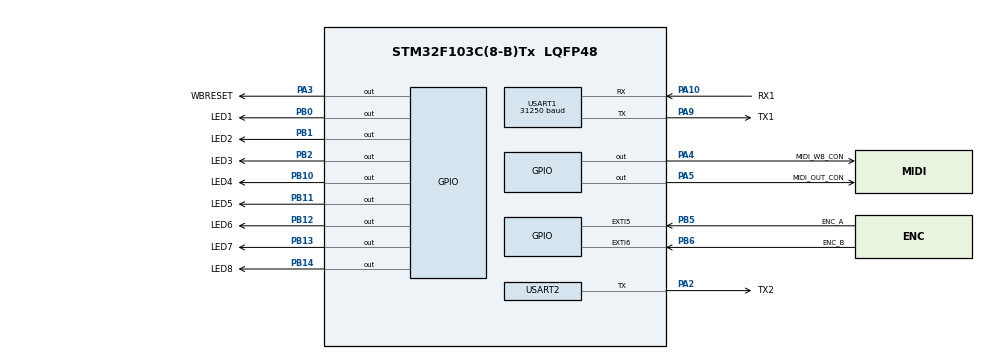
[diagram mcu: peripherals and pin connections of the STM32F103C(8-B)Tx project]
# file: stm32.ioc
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Mcu.Family=STM32F1
Mcu.Name=STM32F103C(8-B)Tx
Mcu.Package=LQFP48
NVIC.EXTI9_5_IRQn=true\:4\:0\:true\:false\:true\:true\:true
NVIC.PriorityGroup=NVIC_PRIORITYGROUP_4
NVIC.TIM2_IRQn=true\:3\:0\:true\:true\:true\:2\:true\:true
NVIC.TIM4_IRQn=true\:5\:0\:true\:false\:true\:true\:true
NVIC.USART1_IRQn=true\:1\:0\:true\:true\:true\:1\:true\:true
NVIC.USART2_IRQn=true\:2\:0\:true\:false\:true\:true\:true
PA10.GPIO_Label=RX1
PA10.Mode=Asynchronous
PA10.Signal=USART1_RX
PA13.Mode=JTAG_5_pins
PA13.Signal=SYS_JTMS-SWDIO
PA14.Mode=JTAG_5_pins
PA14.Signal=SYS_JTCK-SWCLK
PA15.Mode=JTAG_5_pins
PA15.Signal=SYS_JTDI
PA2.GPIO_Label=TX2
PA2.Mode=Half_duplex(single_wire_mode)
PA2.Signal=USART2_TX
PA3.GPIO_Label=WBRESET
PA3.GPIO_ModeDefaultOutputPP=GPIO_MODE_OUTPUT_OD
PA3.Signal=GPIO_Output
PA4.GPIO_Label=MIDI_WB_CON
PA4.GPIO_ModeDefaultOutputPP=GPIO_MODE_OUTPUT_OD
PA4.Signal=GPIO_Output
PA5.GPIO_Label=MIDI_OUT_CON
PA5.GPIO_ModeDefaultOutputPP=GPIO_MODE_OUTPUT_OD
PA5.Signal=GPIO_Output
PA9.GPIO_Label=TX1
PA9.Mode=Asynchronous
PA9.Signal=USART1_TX
PB0.GPIO_Label=LED1
PB0.GPIO_PuPd=GPIO_PULLDOWN
PB0.Signal=GPIO_Output
PB1.GPIO_Label=LED2
PB1.GPIO_PuPd=GPIO_PULLDOWN
PB1.Signal=GPIO_Output
PB10.GPIO_Label=LED4
PB10.GPIO_PuPd=GPIO_PULLDOWN
PB10.Signal=GPIO_Output
PB11.GPIO_Label=LED5
PB11.GPIO_PuPd=GPIO_PULLDOWN
PB11.Signal=GPIO_Output
PB12.GPIO_Label=LED6
PB12.GPIO_PuPd=GPIO_PULLDOWN
PB12.Signal=GPIO_Output
PB13.GPIO_Label=LED7
PB13.GPIO_PuPd=GPIO_PULLDOWN
PB13.Signal=GPIO_Output
PB14.GPIO_Label=LED8
PB14.GPIO_PuPd=GPIO_PULLDOWN
PB14.Signal=GPIO_Output
PB2.GPIO_Label=LED3
PB2.GPIO_PuPd=GPIO_PULLDOWN
PB2.Signal=GPIO_Output
PB3.Mode=JTAG_5_pins
PB3.Signal=SYS_JTDO-TRACESWO
PB4.Mode=JTAG_5_pins
PB4.Signal=SYS_NJTRST
PB5.GPIO_Label=ENC_A
PB5.GPIO_ModeDefaultEXTI=GPIO_MODE_IT_RISING_FALLING
PB5.Signal=GPXTI5
PB6.GPIO_Label=ENC_B
PB6.GPIO_ModeDefaultEXTI=GPIO_MODE_IT_FALLING
PB6.Signal=GPXTI6
PD0-OSC_IN.Mode=HSE-External-Oscillator
PD0-OSC_IN.Signal=RCC_OSC_IN
PD1-OSC_OUT.Mode=HSE-External-Oscillator
PD1-OSC_OUT.Signal=RCC_OSC_OUT
ProjectManager.HeapSize=0x200
ProjectManager.StackSize=0x400
ProjectManager.TargetToolchain=Makefile
RCC.AHBFreq_Value=40000000
RCC.APB1CLKDivider=RCC_HCLK_DIV2
RCC.APB1Freq_Value=20000000
RCC.APB1TimFreq_Value=40000000
RCC.APB2Freq_Value=40000000
RCC.APB2TimFreq_Value=40000000
RCC.HCLKFreq_Value=40000000
RCC.HSE_VALUE=16000000
RCC.PLLMUL=RCC_PLL_MUL10
RCC.SYSCLKFreq_VALUE=40000000
RCC.SYSCLKSource=RCC_SYSCLKSOURCE_PLLCLK
RCC.USBFreq_Value=40000000
TIM2.AutoReloadPreload=TIM_AUTORELOAD_PRELOAD_ENABLE
TIM2.Period=9999
TIM4.AutoReloadPreload=TIM_AUTORELOAD_PRELOAD_ENABLE
TIM4.ClockDivision=TIM_CLOCKDIVISION_DIV1
TIM4.CounterMode=TIM_COUNTERMODE_UP
TIM4.Period=6
TIM4.Prescaler=3999
USART1.BaudRate=31250
USART1.Mode=MODE_TX_RX
USART1.VirtualMode=VM_ASYNC
USART1.WordLength=WORDLENGTH_8B
USART2.BaudRate=31250
USART2.Mode=MODE_TX
USART2.VirtualMode=VM_ASYNC
VP_TIM2_VS_ClockSourceINT.Mode=Internal
VP_TIM4_VS_ClockSourceINT.Mode=Internal
board=custom

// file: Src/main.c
/* USER CODE BEGIN Header */
/**
  ******************************************************************************
  * @file           : main.c
  * @brief          : Main program body
  ******************************************************************************
  * @attention
  *
  * <h2><center>&copy; Copyright (c) 2019 STMicroelectronics.
  * All rights reserved.</center></h2>
  *
  * This software component is licensed by ST under BSD 3-Clause license,
  * the "License"; You may not use this file except in compliance with the
  * License. You may obtain a copy of the License at:
  *                        opensource.org/licenses/BSD-3-Clause
  *
  ******************************************************************************
  */
/* USER CODE END Header */

#include "main.h"

/* USER CODE BEGIN Includes */
#include "export.h"
#include "utils.h"
#include "iobuffers.h"
#include "midi_in_handler.h"
/* USER CODE END Includes */

/* USER CODE BEGIN PV */

uint32_t prev_encoder_pos;

/* USER CODE END PV */

void SystemClock_Config(void);
static void MX_GPIO_Init(void);
static void MX_USART1_UART_Init(void);
static void MX_USART2_UART_Init(void);
static void MX_TIM2_Init(void);
static void MX_TIM4_Init(void);
static void MX_NVIC_Init(void);

int main(void)
{

  /* MCU Configuration--------------------------------------------------------*/

  /* Reset of all peripherals, Initializes the Flash interface and the Systick. */

  LL_APB2_GRP1_EnableClock(LL_APB2_GRP1_PERIPH_AFIO);
  LL_APB1_GRP1_EnableClock(LL_APB1_GRP1_PERIPH_PWR);

  NVIC_SetPriorityGrouping(NVIC_PRIORITYGROUP_4);

  /* System interrupt init*/

  /** ENABLE: Full SWJ (JTAG-DP + SW-DP): Reset State
  */
  LL_GPIO_AF_EnableRemap_SWJ();

  /* Configure the system clock */
  SystemClock_Config();

  /* Initialize all configured peripherals */
  MX_GPIO_Init();
  MX_USART1_UART_Init();
  MX_USART2_UART_Init();
  MX_TIM2_Init();
  MX_TIM4_Init();

  /* Initialize interrupts */
  MX_NVIC_Init();
  /* USER CODE BEGIN 2 */

    //LL_GPIO_ResetOutputPin(MIDI_WB_CON_GPIO_Port, MIDI_WB_CON_Pin);

    current_intercept_mode = VOLUME_VELOCITY;
    current_alteration_mode = VOLUME_MULTIPLY;
    current_max_volume = 255;

  /* USER CODE END 2 */

  /* Infinite loop */
  /* USER CODE BEGIN WHILE */

    prev_encoder_pos =
            (LL_GPIO_IsInputPinSet(ENC_B_GPIO_Port, ENC_B_Pin) ? 1 : 0) +
            (LL_GPIO_IsInputPinSet(ENC_A_GPIO_Port, ENC_A_Pin) ? 2 : 0);

    LL_GPIO_ResetOutputPin(MIDI_OUT_CON_GPIO_Port, MIDI_OUT_CON_Pin);
    LL_GPIO_ResetOutputPin(MIDI_WB_CON_GPIO_Port, MIDI_WB_CON_Pin);

    LL_GPIO_ResetOutputPin(WBRESET_GPIO_Port, WBRESET_Pin);
    LL_mDelay(1000);
    LL_GPIO_SetOutputPin(WBRESET_GPIO_Port, WBRESET_Pin);

    NVIC_DisableIRQ(USART1_IRQn);
    NVIC_DisableIRQ(USART2_IRQn);
    MPU401_Init();

    LL_USART_ClearFlag_TC(USART1);
    LL_USART_ClearFlag_TC(USART2);

    LL_USART_DisableIT_TXE(USART1);
    LL_USART_DisableIT_TXE(USART2);

    NVIC_ClearPendingIRQ(USART1_IRQn);
    NVIC_ClearPendingIRQ(USART2_IRQn);

    NVIC_EnableIRQ(USART1_IRQn);
    NVIC_EnableIRQ(USART2_IRQn);

    LL_USART_EnableIT_RXNE(USART1);

    LL_USART_EnableIT_TC(USART1);
    LL_USART_EnableIT_TC(USART2);

    LL_TIM_ClearFlag_UPDATE(TIM2);
    LL_TIM_ClearFlag_UPDATE(TIM4);

    LL_TIM_EnableIT_UPDATE(TIM2);
    LL_TIM_EnableIT_UPDATE(TIM4);

    LL_TIM_ClearFlag_TRIG(TIM2);
    LL_TIM_EnableCounter(TIM2);

    while(1);

    /* USER CODE END WHILE */

}

void SystemClock_Config(void)
{
  LL_FLASH_SetLatency(LL_FLASH_LATENCY_1);

  if(LL_FLASH_GetLatency() != LL_FLASH_LATENCY_1)
  {
    Error_Handler();
  }
  LL_RCC_HSI_SetCalibTrimming(16);
  LL_RCC_HSI_Enable();

   /* Wait till HSI is ready */
  while(LL_RCC_HSI_IsReady() != 1)
  {

  }
  LL_RCC_PLL_ConfigDomain_SYS(LL_RCC_PLLSOURCE_HSI_DIV_2, LL_RCC_PLL_MUL_10);
  LL_RCC_PLL_Enable();

   /* Wait till PLL is ready */
  while(LL_RCC_PLL_IsReady() != 1)
  {

  }
  LL_RCC_SetAHBPrescaler(LL_RCC_SYSCLK_DIV_1);
  LL_RCC_SetAPB1Prescaler(LL_RCC_APB1_DIV_2);
  LL_RCC_SetAPB2Prescaler(LL_RCC_APB2_DIV_1);
  LL_RCC_SetSysClkSource(LL_RCC_SYS_CLKSOURCE_PLL);

   /* Wait till System clock is ready */
  while(LL_RCC_GetSysClkSource() != LL_RCC_SYS_CLKSOURCE_STATUS_PLL)
  {

  }
  LL_Init1msTick(40000000);
  LL_SYSTICK_SetClkSource(LL_SYSTICK_CLKSOURCE_HCLK);
  LL_SetSystemCoreClock(40000000);
}

/**
  * @brief NVIC Configuration.
  * @retval None
  */
static void MX_NVIC_Init(void)
{
  /* USART1_IRQn interrupt configuration */
  NVIC_SetPriority(USART1_IRQn, NVIC_EncodePriority(NVIC_GetPriorityGrouping(),1, 0));
  NVIC_EnableIRQ(USART1_IRQn);
  /* TIM2_IRQn interrupt configuration */
  NVIC_SetPriority(TIM2_IRQn, NVIC_EncodePriority(NVIC_GetPriorityGrouping(),3, 0));
  NVIC_EnableIRQ(TIM2_IRQn);
}

static void MX_TIM2_Init(void)
{

  LL_TIM_InitTypeDef TIM_InitStruct = {0};

  /* Peripheral clock enable */
  LL_APB1_GRP1_EnableClock(LL_APB1_GRP1_PERIPH_TIM2);

  TIM_InitStruct.Prescaler = 9;
  TIM_InitStruct.CounterMode = LL_TIM_COUNTERMODE_UP;
  TIM_InitStruct.Autoreload = 999;
  TIM_InitStruct.ClockDivision = LL_TIM_CLOCKDIVISION_DIV1;
  LL_TIM_Init(TIM2, &TIM_InitStruct);
  LL_TIM_EnableARRPreload(TIM2);
  LL_TIM_SetClockSource(TIM2, LL_TIM_CLOCKSOURCE_INTERNAL);
  LL_TIM_SetTriggerOutput(TIM2, LL_TIM_TRGO_RESET);
  LL_TIM_DisableMasterSlaveMode(TIM2);

}

static void MX_TIM4_Init(void)
{

  LL_TIM_InitTypeDef TIM_InitStruct = {0};

  /* Peripheral clock enable */
  LL_APB1_GRP1_EnableClock(LL_APB1_GRP1_PERIPH_TIM4);

  /* TIM4 interrupt Init */
  NVIC_SetPriority(TIM4_IRQn, NVIC_EncodePriority(NVIC_GetPriorityGrouping(),5, 0));
  NVIC_EnableIRQ(TIM4_IRQn);

  TIM_InitStruct.Prescaler = 3999;
  TIM_InitStruct.CounterMode = LL_TIM_COUNTERMODE_UP;
  TIM_InitStruct.Autoreload = 6;
  TIM_InitStruct.ClockDivision = LL_TIM_CLOCKDIVISION_DIV1;
  LL_TIM_Init(TIM4, &TIM_InitStruct);
  LL_TIM_EnableARRPreload(TIM4);
  LL_TIM_SetClockSource(TIM4, LL_TIM_CLOCKSOURCE_INTERNAL);
  LL_TIM_SetTriggerOutput(TIM4, LL_TIM_TRGO_RESET);
  LL_TIM_DisableMasterSlaveMode(TIM4);

}

static void MX_USART1_UART_Init(void)
{

  LL_USART_InitTypeDef USART_InitStruct = {0};

  LL_GPIO_InitTypeDef GPIO_InitStruct = {0};

  /* Peripheral clock enable */
  LL_APB2_GRP1_EnableClock(LL_APB2_GRP1_PERIPH_USART1);

  LL_APB2_GRP1_EnableClock(LL_APB2_GRP1_PERIPH_GPIOA);
  /**USART1 GPIO Configuration
  PA9   ------> USART1_TX
  PA10   ------> USART1_RX
  */
  GPIO_InitStruct.Pin = TX1_Pin;
  GPIO_InitStruct.Mode = LL_GPIO_MODE_ALTERNATE;
  GPIO_InitStruct.Speed = LL_GPIO_SPEED_FREQ_HIGH;
  GPIO_InitStruct.OutputType = LL_GPIO_OUTPUT_PUSHPULL;
  LL_GPIO_Init(TX1_GPIO_Port, &GPIO_InitStruct);

  GPIO_InitStruct.Pin = RX1_Pin;
  GPIO_InitStruct.Mode = LL_GPIO_MODE_FLOATING;
  LL_GPIO_Init(RX1_GPIO_Port, &GPIO_InitStruct);

  USART_InitStruct.BaudRate = 31250;
  USART_InitStruct.DataWidth = LL_USART_DATAWIDTH_8B;
  USART_InitStruct.StopBits = LL_USART_STOPBITS_1;
  USART_InitStruct.Parity = LL_USART_PARITY_NONE;
  USART_InitStruct.TransferDirection = LL_USART_DIRECTION_TX_RX;
  USART_InitStruct.HardwareFlowControl = LL_USART_HWCONTROL_NONE;
  LL_USART_Init(USART1, &USART_InitStruct);
  LL_USART_ConfigAsyncMode(USART1);
  LL_USART_Enable(USART1);

}

static void MX_USART2_UART_Init(void)
{

  LL_USART_InitTypeDef USART_InitStruct = {0};

  LL_GPIO_InitTypeDef GPIO_InitStruct = {0};

  /* Peripheral clock enable */
  LL_APB1_GRP1_EnableClock(LL_APB1_GRP1_PERIPH_USART2);

  LL_APB2_GRP1_EnableClock(LL_APB2_GRP1_PERIPH_GPIOA);
  /**USART2 GPIO Configuration
  PA2   ------> USART2_TX
  */
  GPIO_InitStruct.Pin = TX2_Pin;
  GPIO_InitStruct.Mode = LL_GPIO_MODE_ALTERNATE;
  GPIO_InitStruct.Speed = LL_GPIO_SPEED_FREQ_HIGH;
  GPIO_InitStruct.OutputType = LL_GPIO_OUTPUT_OPENDRAIN;
  LL_GPIO_Init(TX2_GPIO_Port, &GPIO_InitStruct);

  /* USART2 interrupt Init */
  NVIC_SetPriority(USART2_IRQn, NVIC_EncodePriority(NVIC_GetPriorityGrouping(),2, 0));
  NVIC_EnableIRQ(USART2_IRQn);

  USART_InitStruct.BaudRate = 31250;
  USART_InitStruct.DataWidth = LL_USART_DATAWIDTH_8B;
  USART_InitStruct.StopBits = LL_USART_STOPBITS_1;
  USART_InitStruct.Parity = LL_USART_PARITY_NONE;
  USART_InitStruct.TransferDirection = LL_USART_DIRECTION_TX;
  LL_USART_Init(USART2, &USART_InitStruct);
  LL_USART_ConfigHalfDuplexMode(USART2);
  LL_USART_Enable(USART2);

}

static void MX_GPIO_Init(void)
{
  LL_EXTI_InitTypeDef EXTI_InitStruct = {0};
  LL_GPIO_InitTypeDef GPIO_InitStruct = {0};

  /* GPIO Ports Clock Enable */
  LL_APB2_GRP1_EnableClock(LL_APB2_GRP1_PERIPH_GPIOC);
  LL_APB2_GRP1_EnableClock(LL_APB2_GRP1_PERIPH_GPIOD);
  LL_APB2_GRP1_EnableClock(LL_APB2_GRP1_PERIPH_GPIOA);
  LL_APB2_GRP1_EnableClock(LL_APB2_GRP1_PERIPH_GPIOB);

  /**/
  LL_GPIO_ResetOutputPin(GPIOA, WBRESET_Pin|MIDI_WB_CON_Pin|MIDI_OUT_CON_Pin);

  /**/
  LL_GPIO_ResetOutputPin(GPIOB, LED1_Pin|LED2_Pin|LED3_Pin|LED4_Pin
                          |LED5_Pin|LED6_Pin|LED7_Pin|LED8_Pin);

  /**/
  GPIO_InitStruct.Pin = LL_GPIO_PIN_13|LL_GPIO_PIN_14|LL_GPIO_PIN_15;
  GPIO_InitStruct.Mode = LL_GPIO_MODE_ANALOG;
  LL_GPIO_Init(GPIOC, &GPIO_InitStruct);

  /**/
  GPIO_InitStruct.Pin = LL_GPIO_PIN_0|LL_GPIO_PIN_1|LL_GPIO_PIN_6|LL_GPIO_PIN_7
                          |LL_GPIO_PIN_8|LL_GPIO_PIN_11|LL_GPIO_PIN_12;
  GPIO_InitStruct.Mode = LL_GPIO_MODE_ANALOG;
  LL_GPIO_Init(GPIOA, &GPIO_InitStruct);

  /**/
  GPIO_InitStruct.Pin = WBRESET_Pin|MIDI_WB_CON_Pin|MIDI_OUT_CON_Pin;
  GPIO_InitStruct.Mode = LL_GPIO_MODE_OUTPUT;
  GPIO_InitStruct.Speed = LL_GPIO_SPEED_FREQ_LOW;
  GPIO_InitStruct.OutputType = LL_GPIO_OUTPUT_OPENDRAIN;
  LL_GPIO_Init(GPIOA, &GPIO_InitStruct);

  /**/
  GPIO_InitStruct.Pin = LED1_Pin|LED2_Pin|LED3_Pin|LED4_Pin
                          |LED5_Pin|LED6_Pin|LED7_Pin|LED8_Pin;
  GPIO_InitStruct.Mode = LL_GPIO_MODE_OUTPUT;
  GPIO_InitStruct.Speed = LL_GPIO_SPEED_FREQ_LOW;
  GPIO_InitStruct.OutputType = LL_GPIO_OUTPUT_PUSHPULL;
  GPIO_InitStruct.Pull = LL_GPIO_PULL_DOWN;
  LL_GPIO_Init(GPIOB, &GPIO_InitStruct);

  /**/
  GPIO_InitStruct.Pin = LL_GPIO_PIN_15|LL_GPIO_PIN_7|LL_GPIO_PIN_8|LL_GPIO_PIN_9;
  GPIO_InitStruct.Mode = LL_GPIO_MODE_ANALOG;
  LL_GPIO_Init(GPIOB, &GPIO_InitStruct);

  /**/
  LL_GPIO_AF_SetEXTISource(LL_GPIO_AF_EXTI_PORTB, LL_GPIO_AF_EXTI_LINE5);

  /**/
  LL_GPIO_AF_SetEXTISource(LL_GPIO_AF_EXTI_PORTB, LL_GPIO_AF_EXTI_LINE6);

  /**/
  EXTI_InitStruct.Line_0_31 = LL_EXTI_LINE_5;
  EXTI_InitStruct.LineCommand = ENABLE;
  EXTI_InitStruct.Mode = LL_EXTI_MODE_IT;
  EXTI_InitStruct.Trigger = LL_EXTI_TRIGGER_RISING_FALLING;
  LL_EXTI_Init(&EXTI_InitStruct);

  /**/
  EXTI_InitStruct.Line_0_31 = LL_EXTI_LINE_6;
  EXTI_InitStruct.LineCommand = ENABLE;
  EXTI_InitStruct.Mode = LL_EXTI_MODE_IT;
  EXTI_InitStruct.Trigger = LL_EXTI_TRIGGER_FALLING;
  LL_EXTI_Init(&EXTI_InitStruct);

  /**/
  LL_GPIO_SetPinMode(ENC_A_GPIO_Port, ENC_A_Pin, LL_GPIO_MODE_FLOATING);

  /**/
  LL_GPIO_SetPinMode(ENC_B_GPIO_Port, ENC_B_Pin, LL_GPIO_MODE_FLOATING);

  /* EXTI interrupt init*/
  NVIC_SetPriority(EXTI9_5_IRQn, NVIC_EncodePriority(NVIC_GetPriorityGrouping(),4, 0));
  NVIC_EnableIRQ(EXTI9_5_IRQn);

}

void Error_Handler(void)
{
}

/************************ (C) COPYRIGHT STMicroelectronics *****END OF FILE****/
